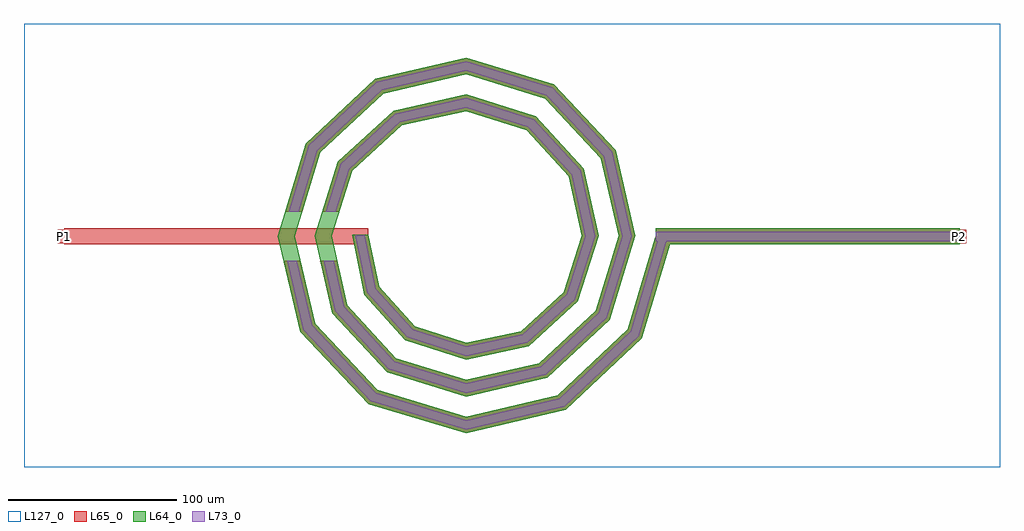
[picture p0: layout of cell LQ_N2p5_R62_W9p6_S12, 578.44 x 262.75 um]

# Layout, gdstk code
import gdstk
lib = gdstk.Library(unit=1e-6, precision=1e-09)
def R(c, l, rs):  # rectangles x0, y0, x1, y1
    for r in rs: c.add(gdstk.rectangle(r[:2], r[2:], *l))
def P(c, l, *ps):  # polygons
    for p in ps: c.add(gdstk.Polygon(p, *l))
L64_0 = (64, 0)
L65_0 = (65, 0)
L73_0 = (73, 0)
L127_0 = (127, 0)

lq_n2p5_r62_w9p6_s12 = lib.new_cell('LQ_N2p5_R62_W9p6_S12')
R(lq_n2p5_r62_w9p6_s12, L64_0, [(112.532,-4.8,292.532,4.8)])
P(lq_n2p5_r62_w9p6_s12, L64_0, [(-51.458,-30.011),(-30.475,-53.292),(0.247,-63.21),(32.724,-56.197),(58.012,-33.222),(68.671,0.229),(60.936,35.44),(35.967,62.733),(0.213,74.133),(-38.157,65.673),(-67.456,38.71),(-79.594,0.2),(-70.41,-40.877),(-41.452,-72.18),(0.187,-85.056),(43.597,-75.145),(76.904,-44.193),(90.518,0.177),(79.88,46.319),(46.932,81.629),(0.167,95.979),(-49.042,84.615),(-86.355,49.671),(-101.441,0.159),(-89.349,-51.766),(-52.408,-91.081),(0.151,-106.903),(54.49,-94.083),(95.807,-55.146),(112.734,1.377),(121.931,-1.377),(104.265,-60.366),(59.201,-102.835),(0.151,-116.838),(-57.641,-99.531),(-98.109,-56.463),(-111.375,0.159),(-94.796,54.917),(-53.725,93.382),(0.167,105.913),(52.194,90.061),(88.657,50.986),(100.451,0.177),(85.326,-49.471),(48.245,-83.931),(0.187,-94.988),(-46.749,-80.59),(-79.206,-45.504),(-89.526,0.2),(-75.853,44.029),(-42.762,74.482),(0.213,84.064),(41.31,71.115),(69.759,40.017),(78.601,0.229),(66.376,-38.593),(37.271,-65.037),(0.247,-73.138),(-35.879,-61.635),(-60.316,-34.522),(-67.408,0.993),(-58.016,0.993)])
R(lq_n2p5_r62_w9p6_s12, L65_0, [(-237.912,-4.8,-57.912,4.8), (112.532,-4.8,292.532,4.8), (-241.912,-4,-233.912,4), (288.532,-4,296.532,4)])
P(lq_n2p5_r62_w9p6_s12, L65_0, [(-89.349,-51.766),(-52.408,-91.081),(0.151,-106.903),(54.49,-94.083),(95.807,-55.146),(112.734,1.377),(121.931,-1.377),(104.265,-60.366),(59.201,-102.835),(0.151,-116.838),(-57.641,-99.531),(-98.109,-56.463),(-107.964,-14.4),(-98.104,-14.4)],
  [(-70.41,-40.877),(-41.452,-72.18),(0.187,-85.056),(43.597,-75.145),(76.904,-44.193),(90.518,0.177),(79.88,46.319),(46.932,81.629),(0.167,95.979),(-49.042,84.615),(-86.355,49.671),(-97.033,14.4),(-107.064,14.4),(-94.796,54.917),(-53.725,93.382),(0.167,105.913),(52.194,90.062),(88.657,50.986),(100.451,0.177),(85.326,-49.471),(48.246,-83.931),(0.187,-94.989),(-46.75,-80.59),(-79.206,-45.504),(-86.23,-14.4),(-76.388,-14.4)],
  [(-30.475,-53.292),(0.247,-63.21),(32.724,-56.198),(58.012,-33.222),(68.671,0.229),(60.936,35.44),(35.967,62.733),(0.213,74.133),(-38.157,65.673),(-67.456,38.71),(-75.04,14.4),(-85.096,14.4),(-75.853,44.029),(-42.762,74.482),(0.213,84.064),(41.31,71.115),(69.759,40.017),(78.601,0.229),(66.376,-38.593),(37.271,-65.037),(0.247,-73.138),(-35.879,-61.635),(-60.316,-34.522),(-67.408,0.993),(-58.016,0.993),(-51.458,-30.011)])
R(lq_n2p5_r62_w9p6_s12, L73_0, [(112.532,-2.8,292.532,2.8)])
P(lq_n2p5_r62_w9p6_s12, L73_0, [(-91.174,-52.744),(-53.499,-92.841),(0.088,-108.973),(55.472,-95.907),(97.569,-56.233),(114.65,0.803),(120.015,0.803),(102.503,-59.279),(58.219,-101.012),(0.088,-114.768),(-56.551,-97.77),(-96.284,-55.484),(-105.91,-14.4),(-100.158,-14.4)],
  [(-72.242,-41.841),(-42.556,-73.932),(0.109,-87.125),(44.566,-76.976),(78.659,-45.292),(92.587,0.103),(81.709,47.291),(48.028,83.386),(0.098,98.049),(-50.018,86.442),(-88.113,50.764),(-99.123,14.4),(-104.974,14.4),(-93.038,53.824),(-52.749,91.556),(0.098,103.844),(51.097,88.305),(86.828,50.013),(98.381,0.103),(83.571,-48.371),(47.277,-82.101),(0.109,-92.919),(-45.646,-78.838),(-77.374,-44.54),(-84.179,-14.4),(-78.438,-14.4)],
  [(-31.601,-55.03),(0.144,-65.278),(33.671,-58.039),(59.755,-34.341),(70.74,0.134),(62.774,36.393),(37.08,64.48),(0.124,76.202),(-39.116,67.508),(-69.205,39.818),(-77.135,14.4),(-83.001,14.4),(-74.104,42.921),(-41.802,72.647),(0.124,81.995),(40.197,69.369),(67.921,39.064),(76.532,0.134),(64.634,-37.474),(36.324,-63.195),(0.144,-71.07),(-34.753,-59.897),(-58.471,-33.582),(-65.451,0.579),(-59.973,0.579),(-53.303,-30.951)])
R(lq_n2p5_r62_w9p6_s12, L127_0, [(-261.912,-136.838,316.532,125.913)])
lq_n2p5_r62_w9p6_s12.add(gdstk.Label('P2', (292.532,0), layer=65, texttype=0))
lq_n2p5_r62_w9p6_s12.add(gdstk.Label('P1', (-237.912,0), layer=65, texttype=0))
lq_n2p5_r62_w9p6_s12.add(gdstk.Label('P2', (296.532,0), layer=145, texttype=0))
lq_n2p5_r62_w9p6_s12.add(gdstk.Label('P1', (-241.912,0), layer=145, texttype=0))

lib.write_gds('LQ_N2p5_R62_W9p6_S12.gds')
